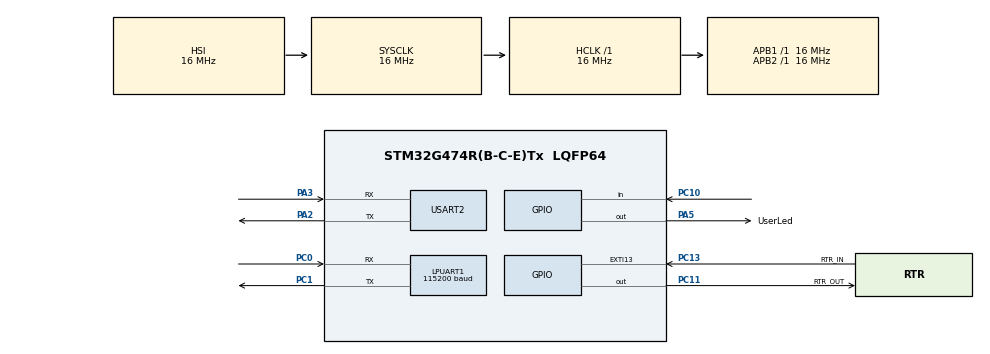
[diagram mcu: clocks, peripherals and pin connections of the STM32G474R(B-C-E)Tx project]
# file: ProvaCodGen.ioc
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LPUART1.BaudRate=115200
Mcu.Family=STM32G4
Mcu.Name=STM32G474R(B-C-E)Tx
Mcu.Package=LQFP64
NVIC.EXTI15_10_IRQn=true\:0\:0\:false\:false\:true\:true\:true\:true
NVIC.LPUART1_IRQn=true\:0\:0\:false\:false\:true\:true\:true\:true
NVIC.PriorityGroup=NVIC_PRIORITYGROUP_4
NVIC.USART2_IRQn=true\:0\:0\:false\:false\:true\:true\:true\:true
PA2.Mode=Asynchronous
PA2.Signal=USART2_TX
PA3.Mode=Asynchronous
PA3.Signal=USART2_RX
PA5.GPIO_Label=UserLed
PA5.Signal=GPIO_Output
PC0.Mode=Asynchronous
PC0.Signal=LPUART1_RX
PC1.Mode=Asynchronous
PC1.Signal=LPUART1_TX
PC10.Signal=GPIO_Input
PC11.GPIO_Label=RTR_OUT
PC11.Signal=GPIO_Output
PC13.GPIO_Label=RTR_IN
PC13.Signal=GPXTI13
ProjectManager.HeapSize=0x200
ProjectManager.StackSize=0x400
ProjectManager.TargetToolchain=STM32CubeIDE
RCC.AHBFreq_Value=16000000
RCC.APB1Freq_Value=16000000
RCC.APB1TimFreq_Value=16000000
RCC.APB2Freq_Value=16000000
RCC.APB2TimFreq_Value=16000000
RCC.CortexFreq_Value=16000000
RCC.EXTERNAL_CLOCK_VALUE=12288000
RCC.HCLKFreq_Value=16000000
RCC.HSE_VALUE=8000000
RCC.HSI48_VALUE=48000000
RCC.HSI_VALUE=16000000
RCC.LSE_VALUE=32768
RCC.SYSCLKFreq_VALUE=16000000
RCC.USBFreq_Value=64000000
RCC.VCOOutputFreq_Value=128000000
USART2.VirtualMode-Asynchronous=VM_ASYNC
VP_SYS_VS_DBSignals.Mode=DisableDeadBatterySignals
board=custom

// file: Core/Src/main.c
/* USER CODE BEGIN Header */
/* PROVA COD GEN B1 */
/**
  ******************************************************************************
  * @file           : main.c
  * @brief          : Main program body
  ******************************************************************************
  * @attention
  *
  * Copyright (c) 2025 STMicroelectronics.
  * All rights reserved.
  *
  * This software is licensed under terms that can be found in the LICENSE file
  * in the root directory of this software component.
  * If no LICENSE file comes with this software, it is provided AS-IS.
  *
  ******************************************************************************
  */
/* USER CODE END Header */
#include "main.h"
#include "usart.h"
#include "gpio.h"

/* USER CODE BEGIN Includes */
#include "Board1.h"
#include "sensors.h"
#include "decision.h"
#include "print.h"
/* USER CODE END Includes */

/* USER CODE BEGIN PD */
#define Board1_IN_Execution            ((uint8_T)3U)

/* USER CODE END PD */

/* USER CODE BEGIN PV */

/* Block states (default storage) */
extern DW_Board1_T Board1_DW;

/* External inputs (root inport signals with default storage) */
extern ExtU_Board1_T Board1_U;

/* External outputs (root outports fed by signals with default storage) */
extern ExtY_Board1_T Board1_Y;

extern B_Board1_T Board1_B;

/* USER CODE END PV */

void SystemClock_Config(void);

int main(void)
{

  /* MCU Configuration--------------------------------------------------------*/

  /* Reset of all peripherals, Initializes the Flash interface and the Systick. */
  HAL_Init();

  /* Configure the system clock */
  SystemClock_Config();

  /* Initialize all configured peripherals */
  MX_GPIO_Init();
  MX_LPUART1_UART_Init();
  MX_USART2_UART_Init();
  /* USER CODE BEGIN 2 */
  clearScreen();
  printMsg("PROVA COD GEN B11\r\n");

  uint8_t flagStampa = 1;

  // Coming from Sensors
  Board1_U.speed = (BUS_Speed) {32.3f, 32.3f, 32.3f, 32.3f};
  Board1_U.temperature = (Temperature) 32.3f;
  Board1_U.batteryLevel = (BatteryLevel) 32.3f;

  // Coming from ModelAction
  Board1_Y.roverAction = RA_IDLE;
  Board1_Y.safeAction = RA_IDLE;
  Board1_Y.setPoint = (BUS_SetPoint) {32.3f, 32.3f};

  // Continua
  Board1_U.continua = 0;

  Board1_initialize();
  /* USER CODE END 2 */

  /* Infinite loop */
  while (1)
  {

    /* USER CODE BEGIN 3 */

		Board1_step();

		if (flagStampa == 1) {
			if (Board1_DW.is_ExchangeDecision == Board1_IN_Execution) {
				printGlobalState(&Board1_B.board1GlobalState);
				printDecision(&Board1_DW.board1Decision);
				flagStampa = 0;
			}
		}
	}
  /* USER CODE END 3 */
}

void SystemClock_Config(void)
{
  RCC_OscInitTypeDef RCC_OscInitStruct = {0};
  RCC_ClkInitTypeDef RCC_ClkInitStruct = {0};

  /** Configure the main internal regulator output voltage
  */
  HAL_PWREx_ControlVoltageScaling(PWR_REGULATOR_VOLTAGE_SCALE1);

  /** Initializes the RCC Oscillators according to the specified parameters
  * in the RCC_OscInitTypeDef structure.
  */
  RCC_OscInitStruct.OscillatorType = RCC_OSCILLATORTYPE_HSI;
  RCC_OscInitStruct.HSIState = RCC_HSI_ON;
  RCC_OscInitStruct.HSICalibrationValue = RCC_HSICALIBRATION_DEFAULT;
  RCC_OscInitStruct.PLL.PLLState = RCC_PLL_NONE;
  if (HAL_RCC_OscConfig(&RCC_OscInitStruct) != HAL_OK)
  {
    Error_Handler();
  }

  /** Initializes the CPU, AHB and APB buses clocks
  */
  RCC_ClkInitStruct.ClockType = RCC_CLOCKTYPE_HCLK|RCC_CLOCKTYPE_SYSCLK
                              |RCC_CLOCKTYPE_PCLK1|RCC_CLOCKTYPE_PCLK2;
  RCC_ClkInitStruct.SYSCLKSource = RCC_SYSCLKSOURCE_HSI;
  RCC_ClkInitStruct.AHBCLKDivider = RCC_SYSCLK_DIV1;
  RCC_ClkInitStruct.APB1CLKDivider = RCC_HCLK_DIV1;
  RCC_ClkInitStruct.APB2CLKDivider = RCC_HCLK_DIV1;

  if (HAL_RCC_ClockConfig(&RCC_ClkInitStruct, FLASH_LATENCY_0) != HAL_OK)
  {
    Error_Handler();
  }
}

/* USER CODE BEGIN 4 */
void HAL_UART_ErrorCallback(UART_HandleTypeDef *huart) {
	if (huart->Instance == LPUART1) {

		uint32_t err = huart->ErrorCode;

		printMsg("UART ERROR: ");

		if (err & HAL_UART_ERROR_ORE) {
			printMsg("ORE ");
		}
		if (err & HAL_UART_ERROR_FE) {
			printMsg("FE ");
		}
		if (err & HAL_UART_ERROR_NE) {
			printMsg("NE ");
		}
		if (err & HAL_UART_ERROR_PE) {
			printMsg("PE ");
		}

		printMsg("\r\n");

		// --- recovery minimo indispensabile ---
		__HAL_UART_CLEAR_OREFLAG(huart);
		__HAL_UART_CLEAR_FEFLAG(huart);
		__HAL_UART_CLEAR_NEFLAG(huart);
		__HAL_UART_CLEAR_PEFLAG(huart);

		HAL_UART_AbortReceive_IT(huart);

	}
}
/* USER CODE END 4 */

void Error_Handler(void)
{
  __disable_irq();
  while (1)
  {
  }
}
